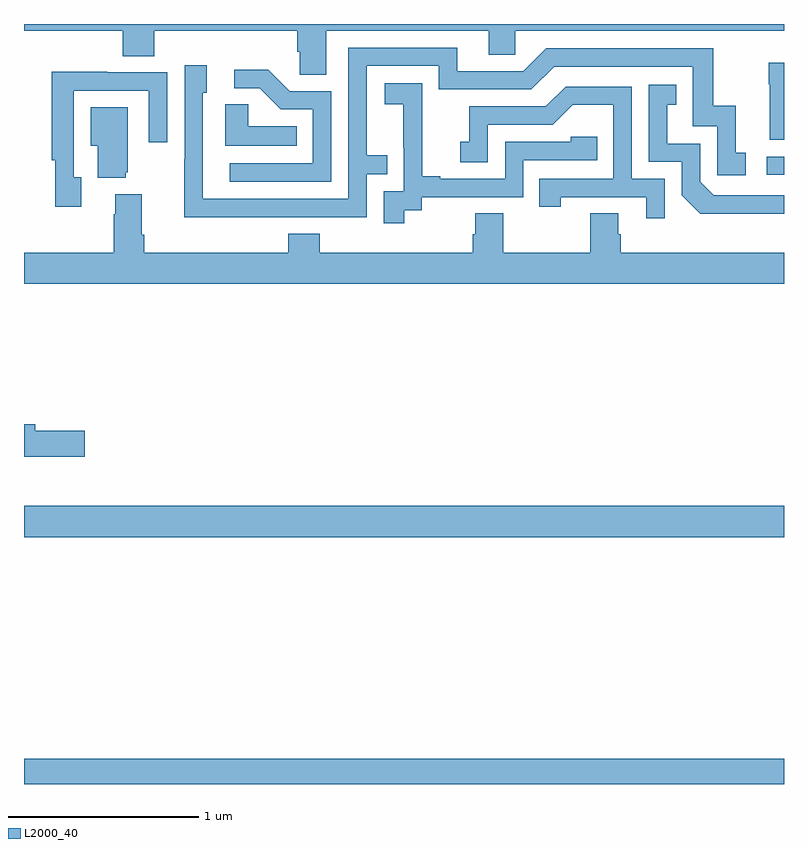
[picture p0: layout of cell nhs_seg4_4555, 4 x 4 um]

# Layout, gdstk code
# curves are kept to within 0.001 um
import gdstk
lib = gdstk.Library(unit=1e-6, precision=1e-09)
def R(c, l, rs):  # rectangles x0, y0, x1, y1
    for r in rs: c.add(gdstk.rectangle(r[:2], r[2:], *l))
def P(c, l, *ps):  # polygons
    for p in ps: c.add(gdstk.Polygon(p, *l))
L2000_40 = (2000, 40)

nhs_seg4_4555 = lib.new_cell('nhs_seg4_4555')
R(nhs_seg4_4555, L2000_40, [(357,748.9,361,749.032), (357,750.2,361,750.364), (360.909,752.106,361,752.202)])
P(nhs_seg4_4555, L2000_40, [(358.591,752.864),(359.447,752.864),(359.447,752.737),(359.586,752.737),(359.586,752.864),(361,752.864),(361,752.9),(357,752.9),(357,752.864),(357.521,752.864),(357.521,752.731),(357.686,752.731),(357.686,752.864),(358.439,752.864),(358.439,752.755),(358.452,752.755),(358.452,752.632),(358.591,752.632)],
  [(358.307,751.884),(358.803,751.884),(358.803,752.109),(358.913,752.109),(358.913,752.21),(358.803,752.21),(358.803,752.679),(359.184,752.679),(359.184,752.556),(359.67,752.556),(359.79,752.676),(360.519,752.676),(360.519,752.361),(360.648,752.361),(360.648,752.103),(360.799,752.103),(360.799,752.223),(360.746,752.223),(360.746,752.47),(360.628,752.47),(360.628,752.772),(359.748,752.772),(359.628,752.652),(359.281,752.652),(359.281,752.775),(358.707,752.775),(358.707,751.98),(357.942,751.98),(357.942,752.538),(357.961,752.538),(357.961,752.683),(357.846,752.683),(357.846,752.189),(357.844,752.189),(357.844,751.883)],
  [(361,752.695),(360.919,752.695),(360.919,752.582),(360.926,752.582),(360.926,752.291),(361,752.291)],
  [(358.617,752.547),(358.398,752.547),(358.285,752.66),(358.107,752.66),(358.107,752.562),(358.241,752.562),(358.352,752.451),(358.521,752.451),(358.521,752.166),(358.083,752.166),(358.083,752.07),(358.617,752.07)],
  [(357.301,752.094),(357.261,752.094),(357.261,752.55),(357.657,752.55),(357.657,752.277),(357.753,752.277),(357.753,752.646),(357.437,752.646),(357.437,752.648),(357.145,752.648),(357.145,752.182),(357.164,752.182),(357.164,751.938),(357.301,751.938)],
  [(359.002,751.921),(359.094,751.921),(359.094,751.989),(359.628,751.989),(359.628,752.184),(360.017,752.184),(360.017,752.307),(359.877,752.307),(359.877,752.28),(359.532,752.28),(359.532,752.085),(359.191,752.085),(359.191,752.098),(359.096,752.098),(359.096,752.381),(359.097,752.381),(359.097,752.587),(358.899,752.587),(358.899,752.477),(358.997,752.477),(358.997,752.249),(358.998,752.249),(358.998,752.019),(358.893,752.019),(358.893,751.851),(359.002,751.851)],
  [(360.968,751.902),(361,751.902),(361,751.998),(360.63,751.998),(360.558,752.07),(360.558,752.271),(360.385,752.271),(360.385,752.475),(360.434,752.475),(360.434,752.581),(360.288,752.581),(360.288,752.175),(360.462,752.175),(360.462,751.998),(360.56,751.901)],
  [(360.372,752.085),(360.198,752.085),(360.198,752.571),(359.852,752.571),(359.747,752.466),(359.344,752.466),(359.344,752.281),(359.295,752.281),(359.295,752.172),(359.442,752.172),(359.442,752.37),(359.784,752.37),(359.888,752.474),(360.102,752.474),(360.102,752.085),(359.713,752.085),(359.713,751.938),(359.824,751.938),(359.824,751.989),(360.275,751.989),(360.275,751.878),(360.372,751.878)],
  [(358.436,752.362),(358.179,752.362),(358.179,752.477),(358.058,752.477),(358.058,752.258),(358.436,752.258)],
  [(357.536,752.121),(357.547,752.121),(357.547,752.461),(357.35,752.461),(357.35,752.258),(357.389,752.258),(357.389,752.09),(357.536,752.09)],
  [(361,751.696),(360.14,751.696),(360.14,751.794),(360.127,751.794),(360.127,751.904),(359.98,751.904),(359.98,751.696),(359.523,751.696),(359.523,751.904),(359.375,751.904),(359.375,751.794),(359.363,751.794),(359.363,751.696),(358.556,751.696),(358.556,751.795),(358.391,751.795),(358.391,751.696),(357.632,751.696),(357.632,751.792),(357.619,751.792),(357.619,752.005),(357.479,752.005),(357.479,751.898),(357.472,751.898),(357.472,751.696),(357,751.696),(357,751.532),(361,751.532)],
  [(357.319,750.758),(357.058,750.758),(357.058,750.794),(357,750.794),(357,750.623),(357.319,750.623)])

lib.write_gds('nhs_seg4_4555.gds')
